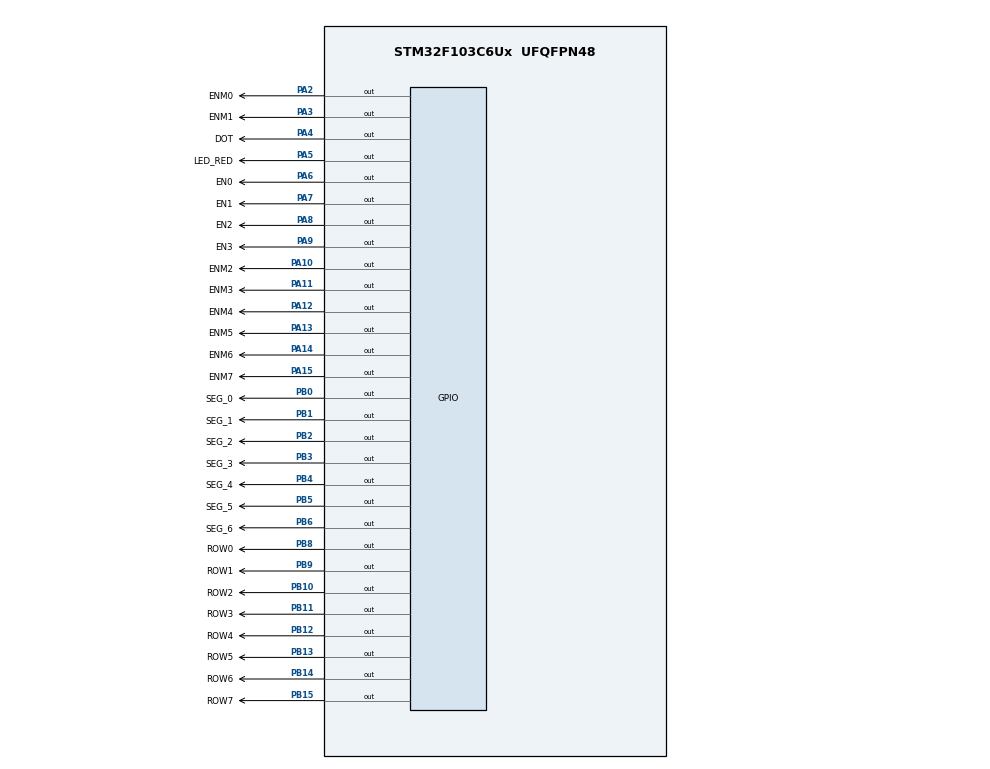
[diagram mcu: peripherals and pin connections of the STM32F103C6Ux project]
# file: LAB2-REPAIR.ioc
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Mcu.Family=STM32F1
Mcu.Name=STM32F103C6Ux
Mcu.Package=UFQFPN48
NVIC.PriorityGroup=NVIC_PRIORITYGROUP_4
NVIC.TIM2_IRQn=true\:0\:0\:false\:false\:true\:true\:true
PA10.GPIO_Label=ENM2
PA10.Signal=GPIO_Output
PA11.GPIO_Label=ENM3
PA11.Signal=GPIO_Output
PA12.GPIO_Label=ENM4
PA12.Signal=GPIO_Output
PA13.GPIO_Label=ENM5
PA13.Signal=GPIO_Output
PA14.GPIO_Label=ENM6
PA14.Signal=GPIO_Output
PA15.GPIO_Label=ENM7
PA15.Signal=GPIO_Output
PA2.GPIO_Label=ENM0
PA2.Signal=GPIO_Output
PA3.GPIO_Label=ENM1
PA3.Signal=GPIO_Output
PA4.GPIO_Label=DOT
PA4.Signal=GPIO_Output
PA5.GPIO_Label=LED_RED
PA5.Signal=GPIO_Output
PA6.GPIO_Label=EN0
PA6.Signal=GPIO_Output
PA7.GPIO_Label=EN1
PA7.Signal=GPIO_Output
PA8.GPIO_Label=EN2
PA8.Signal=GPIO_Output
PA9.GPIO_Label=EN3
PA9.Signal=GPIO_Output
PB0.GPIO_Label=SEG_0
PB0.Signal=GPIO_Output
PB1.GPIO_Label=SEG_1
PB1.Signal=GPIO_Output
PB10.GPIO_Label=ROW2
PB10.Signal=GPIO_Output
PB11.GPIO_Label=ROW3
PB11.Signal=GPIO_Output
PB12.GPIO_Label=ROW4
PB12.Signal=GPIO_Output
PB13.GPIO_Label=ROW5
PB13.Signal=GPIO_Output
PB14.GPIO_Label=ROW6
PB14.Signal=GPIO_Output
PB15.GPIO_Label=ROW7
PB15.Signal=GPIO_Output
PB2.GPIO_Label=SEG_2
PB2.Signal=GPIO_Output
PB3.GPIO_Label=SEG_3
PB3.Signal=GPIO_Output
PB4.GPIO_Label=SEG_4
PB4.Signal=GPIO_Output
PB5.GPIO_Label=SEG_5
PB5.Signal=GPIO_Output
PB6.GPIO_Label=SEG_6
PB6.Signal=GPIO_Output
PB8.GPIO_Label=ROW0
PB8.Signal=GPIO_Output
PB9.GPIO_Label=ROW1
PB9.Signal=GPIO_Output
ProjectManager.HeapSize=0x200
ProjectManager.StackSize=0x400
ProjectManager.TargetToolchain=STM32CubeIDE
RCC.APB1Freq_Value=8000000
RCC.APB2Freq_Value=8000000
TIM2.Period=9
TIM2.Prescaler=7999
VP_SYS_VS_ND.Mode=No_Debug
VP_TIM2_VS_ClockSourceINT.Mode=Internal
board=custom

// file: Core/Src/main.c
/* USER CODE BEGIN Header */
/**
  ******************************************************************************
  * @file           : main.c
  * @brief          : Main program body
  ******************************************************************************
  * @attention
  *
  * <h2><center>&copy; Copyright (c) 2024 STMicroelectronics.
  * All rights reserved.</center></h2>
  *
  * This software component is licensed by ST under BSD 3-Clause license,
  * the "License"; You may not use this file except in compliance with the
  * License. You may obtain a copy of the License at:
  *                        opensource.org/licenses/BSD-3-Clause
  *
  ******************************************************************************
  */
/* USER CODE END Header */
#include "main.h"

/* USER CODE BEGIN Includes */
#include "software_timer.h"
#include "Ex3_4.h"
#include "Ex9,10.h"
/* USER CODE END Includes */

TIM_HandleTypeDef htim2;

void SystemClock_Config(void);
static void MX_GPIO_Init(void);
static void MX_TIM2_Init(void);

int main(void)
{

  /* MCU Configuration--------------------------------------------------------*/

  /* Reset of all peripherals, Initializes the Flash interface and the Systick. */
  HAL_Init();

  /* Configure the system clock */
  SystemClock_Config();

  /* Initialize all configured peripherals */
  MX_GPIO_Init();
  MX_TIM2_Init();
  /* USER CODE BEGIN 2 */
HAL_TIM_Base_Start_IT(&htim2);
  /* USER CODE END 2 */

  /* Infinite loop */
  /* USER CODE BEGIN WHILE */

//setTimer0(10);
////int intial=1;
////setTimer0(10);

setTimer0(10);
setTimer1(10);
setTimer2(20);
//int ok=1;
int state=0;
int intial=1;
  while (1)
  {
	  updateLEDMatrix_shift(state);
	  if(timer1_flag==1){
		  state++;
		  if(state>7) state=0;
		  setTimer1(10);

	  }

	  if(timer0_flag==1){
		  updateshift();
		  setTimer0(500);
	  }

//Ex 4,5,6,7,8

//	  ->>>>>>>>>>>>>>>>>>>>>>>>Exercise4,5<<<<<<<<<<<<<<<<<<<<<<<<-

//if(intial==1){
//
//	Intial();
//		  HAL_GPIO_WritePin(DOT_GPIO_Port,DOT_Pin, SET);
//
//}
//	 if(timer1_flag==1 ){
//		 intial=2;
//		 	update7SEG(index_led);
//		 	index_led++;
//	 	if (index_led >= MAX_LED) {
//	 	            index_led = 0;
//		 				}
//		 	setTimer1(250);
//
//	 }
//
//
//
//
//	  	//  End Exercise4,5
//	 if (timer0_flag == 1)
//			  {
//				  second++;
//				  if (second >=60){
//					  second = 0;
//					  minute++;
//				  }
//				  if (minute >=60){
//					  minute = 0;
//					  hour++;
//				  }
//				  if (hour >=24){
//					  hour = 0;
//				  }
//
//				  updateClockBuffer ();
//
//				  setTimer0(1000);
//			  }

//	  ->>>>>>>>>>>>Exercise1 <<<<<<<<<<<<<<<<<<<<<-
//	  	  	  	  if(intial==1){
//			 		  Intial();
//
//			 	  }
//	  	  	  	  if(timer0_flag==1){
//			 		  intial=2;
//			 		  setTimer0(500);
//			 		  	  if(ok==1){
//			 		  			  	  	  		SEG_1();
//			 		  			  	  	  		display7SEG(1);
//			 		  			  	  	  		ok=0;
//			 		  		  }
//			 		  	  else if(ok==0){
//			 		  			  	  	  	  SEG_2();
//			 		  			  	  	  	  display7SEG(2);
//			 		  			  	  	  	  ok=1;
//
//
//			 		  		  }
//
//			 	  }

//	  	  	  	  End Exercise 1

//->>>>>>>>>>>>>>>>>>>>Exercise_2<<<<<<<<<<<<<<<<<<-
//	  if(intial==1){
//		  Intial();
//		  HAL_GPIO_WritePin(DOT_GPIO_Port,DOT_Pin, SET);
//
//	  }
//
//
//
//	  if(timer0_flag==1){
//		  intial=2;
//
//		  setTimer0(500);
//		  if(ok==1){
//		  			  SEG_1();
//		  			 display7SEG(1);
//		  			  ok=2;
//		  		  }
//		  else if(ok==2){
//		  			  SEG_2();
//		  			   display7SEG(2);
//		  			 	HAL_GPIO_WritePin(DOT_GPIO_Port,DOT_Pin, RESET);
//		  			  ok=3;
//
//
//		  		  }
//
//		  else if(ok==3){
//		  		  			  SEG_3();
//		  		  			   display7SEG(3);
//		  		  			  ok=0;
//
//
//		  		  		  }
//		  else if(ok==0){
//		  		  		  			  SEG_4();
//		  		  		  			   display7SEG(0);
//		  			  		  		HAL_GPIO_WritePin(DOT_GPIO_Port,DOT_Pin, SET);
//
//		  		  		  			  ok=1;
//
//
//		  		  		  		  }
//
//	  }
//	  	  	  	  End exercise 2

	  /* USER CODE END WHILE */

  }
}

void SystemClock_Config(void)
{
  RCC_OscInitTypeDef RCC_OscInitStruct = {0};
  RCC_ClkInitTypeDef RCC_ClkInitStruct = {0};

  /** Initializes the RCC Oscillators according to the specified parameters
  * in the RCC_OscInitTypeDef structure.
  */
  RCC_OscInitStruct.OscillatorType = RCC_OSCILLATORTYPE_HSI;
  RCC_OscInitStruct.HSIState = RCC_HSI_ON;
  RCC_OscInitStruct.HSICalibrationValue = RCC_HSICALIBRATION_DEFAULT;
  RCC_OscInitStruct.PLL.PLLState = RCC_PLL_NONE;
  if (HAL_RCC_OscConfig(&RCC_OscInitStruct) != HAL_OK)
  {
    Error_Handler();
  }
  /** Initializes the CPU, AHB and APB buses clocks
  */
  RCC_ClkInitStruct.ClockType = RCC_CLOCKTYPE_HCLK|RCC_CLOCKTYPE_SYSCLK
                              |RCC_CLOCKTYPE_PCLK1|RCC_CLOCKTYPE_PCLK2;
  RCC_ClkInitStruct.SYSCLKSource = RCC_SYSCLKSOURCE_HSI;
  RCC_ClkInitStruct.AHBCLKDivider = RCC_SYSCLK_DIV1;
  RCC_ClkInitStruct.APB1CLKDivider = RCC_HCLK_DIV1;
  RCC_ClkInitStruct.APB2CLKDivider = RCC_HCLK_DIV1;

  if (HAL_RCC_ClockConfig(&RCC_ClkInitStruct, FLASH_LATENCY_0) != HAL_OK)
  {
    Error_Handler();
  }
}

static void MX_TIM2_Init(void)
{

  TIM_ClockConfigTypeDef sClockSourceConfig = {0};
  TIM_MasterConfigTypeDef sMasterConfig = {0};

  htim2.Instance = TIM2;
  htim2.Init.Prescaler = 7999;
  htim2.Init.CounterMode = TIM_COUNTERMODE_UP;
  htim2.Init.Period = 9;
  htim2.Init.ClockDivision = TIM_CLOCKDIVISION_DIV1;
  htim2.Init.AutoReloadPreload = TIM_AUTORELOAD_PRELOAD_DISABLE;
  if (HAL_TIM_Base_Init(&htim2) != HAL_OK)
  {
    Error_Handler();
  }
  sClockSourceConfig.ClockSource = TIM_CLOCKSOURCE_INTERNAL;
  if (HAL_TIM_ConfigClockSource(&htim2, &sClockSourceConfig) != HAL_OK)
  {
    Error_Handler();
  }
  sMasterConfig.MasterOutputTrigger = TIM_TRGO_RESET;
  sMasterConfig.MasterSlaveMode = TIM_MASTERSLAVEMODE_DISABLE;
  if (HAL_TIMEx_MasterConfigSynchronization(&htim2, &sMasterConfig) != HAL_OK)
  {
    Error_Handler();
  }

}

static void MX_GPIO_Init(void)
{
  GPIO_InitTypeDef GPIO_InitStruct = {0};

  /* GPIO Ports Clock Enable */
  __HAL_RCC_GPIOA_CLK_ENABLE();
  __HAL_RCC_GPIOB_CLK_ENABLE();

  /*Configure GPIO pin Output Level */
  HAL_GPIO_WritePin(GPIOA, ENM0_Pin|ENM1_Pin|DOT_Pin|LED_RED_Pin
                          |EN0_Pin|EN1_Pin|EN2_Pin|EN3_Pin
                          |ENM2_Pin|ENM3_Pin|ENM4_Pin|ENM5_Pin
                          |ENM6_Pin|ENM7_Pin, GPIO_PIN_RESET);

  /*Configure GPIO pin Output Level */
  HAL_GPIO_WritePin(GPIOB, SEG_0_Pin|SEG_1_Pin|SEG_2_Pin|ROW2_Pin
                          |ROW3_Pin|ROW4_Pin|ROW5_Pin|ROW6_Pin
                          |ROW7_Pin|SEG_3_Pin|SEG_4_Pin|SEG_5_Pin
                          |SEG_6_Pin|ROW0_Pin|ROW1_Pin, GPIO_PIN_RESET);

  /*Configure GPIO pins : ENM0_Pin ENM1_Pin DOT_Pin LED_RED_Pin
                           EN0_Pin EN1_Pin EN2_Pin EN3_Pin
                           ENM2_Pin ENM3_Pin ENM4_Pin ENM5_Pin
                           ENM6_Pin ENM7_Pin */
  GPIO_InitStruct.Pin = ENM0_Pin|ENM1_Pin|DOT_Pin|LED_RED_Pin
                          |EN0_Pin|EN1_Pin|EN2_Pin|EN3_Pin
                          |ENM2_Pin|ENM3_Pin|ENM4_Pin|ENM5_Pin
                          |ENM6_Pin|ENM7_Pin;
  GPIO_InitStruct.Mode = GPIO_MODE_OUTPUT_PP;
  GPIO_InitStruct.Pull = GPIO_NOPULL;
  GPIO_InitStruct.Speed = GPIO_SPEED_FREQ_LOW;
  HAL_GPIO_Init(GPIOA, &GPIO_InitStruct);

  /*Configure GPIO pins : SEG_0_Pin SEG_1_Pin SEG_2_Pin ROW2_Pin
                           ROW3_Pin ROW4_Pin ROW5_Pin ROW6_Pin
                           ROW7_Pin SEG_3_Pin SEG_4_Pin SEG_5_Pin
                           SEG_6_Pin ROW0_Pin ROW1_Pin */
  GPIO_InitStruct.Pin = SEG_0_Pin|SEG_1_Pin|SEG_2_Pin|ROW2_Pin
                          |ROW3_Pin|ROW4_Pin|ROW5_Pin|ROW6_Pin
                          |ROW7_Pin|SEG_3_Pin|SEG_4_Pin|SEG_5_Pin
                          |SEG_6_Pin|ROW0_Pin|ROW1_Pin;
  GPIO_InitStruct.Mode = GPIO_MODE_OUTPUT_PP;
  GPIO_InitStruct.Pull = GPIO_NOPULL;
  GPIO_InitStruct.Speed = GPIO_SPEED_FREQ_LOW;
  HAL_GPIO_Init(GPIOB, &GPIO_InitStruct);

}

/* USER CODE BEGIN 4 */
void HAL_TIM_PeriodElapsedCallback(TIM_HandleTypeDef *htim){
		timerRun();
//	update7SEG(index_led);
//	index_led++;
//	if (index_led >= MAX_LED) {
//	            index_led = 0;          // Reset index_led if it exceeds the maximum
//	        }
}

/* USER CODE END 4 */

void Error_Handler(void)
{
  __disable_irq();
  while (1)
  {
  }
}

/************************ (C) COPYRIGHT STMicroelectronics *****END OF FILE****/
